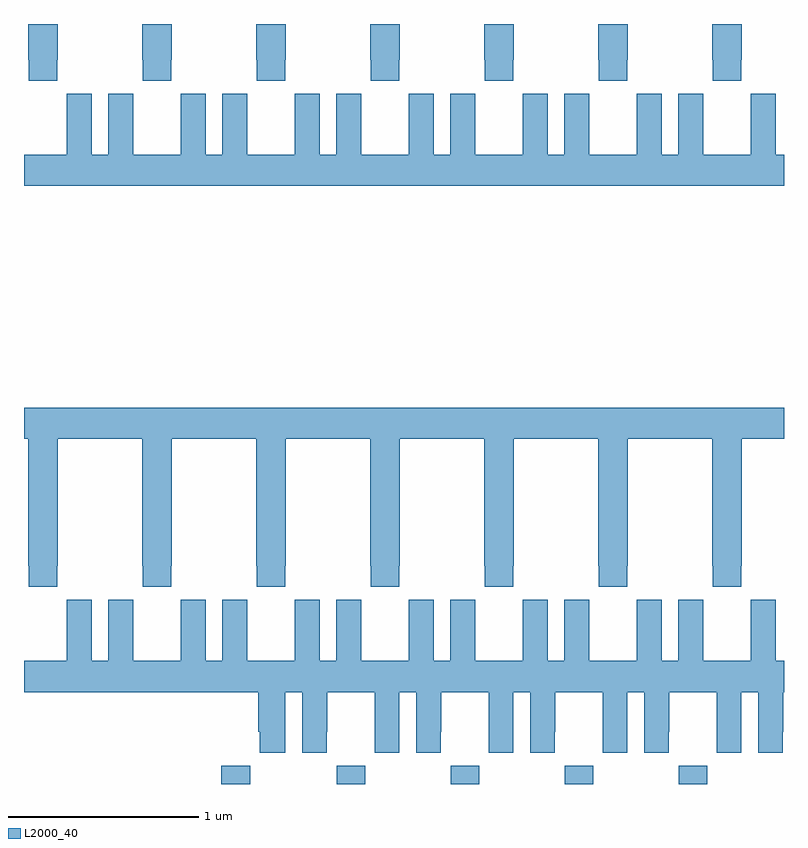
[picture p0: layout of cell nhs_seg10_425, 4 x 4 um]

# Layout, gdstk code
import gdstk
lib = gdstk.Library(unit=1e-6, precision=1e-09)
def R(c, l, rs):  # rectangles x0, y0, x1, y1
    for r in rs: c.add(gdstk.rectangle(r[:2], r[2:], *l))
def A(c, l, x, y, w, h, nx, ny, dx, dy):  # array of equal rectangles
    R(c, l, [(x+i*dx, y+j*dy, x+i*dx+w, y+j*dy+h) for i in range(nx) for j in range(ny)])
def P(c, l, *ps):  # polygons
    for p in ps: c.add(gdstk.Polygon(p, *l))
L2000_40 = (2000, 40)

nhs_seg10_425 = lib.new_cell('nhs_seg10_425')
A(nhs_seg10_425, L2000_40, 132.645, 1298.5, 0.15, 0.096, 4, 1, 0.6, 0)
R(nhs_seg10_425, L2000_40, [(132.038,1298.5,132.191,1298.596)])
P(nhs_seg10_425, L2000_40, [(131.175,1302.313),(131.178,1302.313),(131.178,1302.5),(131.023,1302.5),(131.023,1302.313),(131.025,1302.313),(131.025,1302.201),(131.175,1302.201)],
  [(131.775,1302.313),(131.778,1302.313),(131.778,1302.5),(131.623,1302.5),(131.623,1302.313),(131.625,1302.313),(131.625,1302.201),(131.775,1302.201)],
  [(132.375,1302.313),(132.378,1302.313),(132.378,1302.5),(132.223,1302.5),(132.223,1302.313),(132.225,1302.313),(132.225,1302.201),(132.375,1302.201)],
  [(132.975,1302.313),(132.978,1302.313),(132.978,1302.5),(132.823,1302.5),(132.823,1302.313),(132.825,1302.313),(132.825,1302.201),(132.975,1302.201)],
  [(133.575,1302.313),(133.578,1302.313),(133.578,1302.5),(133.423,1302.5),(133.423,1302.313),(133.425,1302.313),(133.425,1302.201),(133.575,1302.201)],
  [(134.175,1302.313),(134.178,1302.313),(134.178,1302.5),(134.023,1302.5),(134.023,1302.313),(134.025,1302.313),(134.025,1302.201),(134.175,1302.201)],
  [(134.775,1302.313),(134.778,1302.313),(134.778,1302.5),(134.623,1302.5),(134.623,1302.313),(134.625,1302.313),(134.625,1302.201),(134.775,1302.201)],
  [(135,1301.812),(134.956,1301.812),(134.956,1302.133),(134.826,1302.133),(134.826,1302.02),(134.825,1302.02),(134.825,1301.812),(134.575,1301.812),(134.575,1302.02),(134.574,1302.02),(134.574,1302.133),(134.444,1302.133),(134.444,1301.812),(134.356,1301.812),(134.356,1302.133),(134.226,1302.133),(134.226,1302.02),(134.225,1302.02),(134.225,1301.812),(133.975,1301.812),(133.975,1302.02),(133.974,1302.02),(133.974,1302.133),(133.844,1302.133),(133.844,1301.812),(133.756,1301.812),(133.756,1302.133),(133.626,1302.133),(133.626,1302.02),(133.625,1302.02),(133.625,1301.812),(133.375,1301.812),(133.375,1302.02),(133.374,1302.02),(133.374,1302.133),(133.244,1302.133),(133.244,1301.812),(133.156,1301.812),(133.156,1302.133),(133.026,1302.133),(133.026,1302.02),(133.025,1302.02),(133.025,1301.812),(132.775,1301.812),(132.775,1302.02),(132.774,1302.02),(132.774,1302.133),(132.644,1302.133),(132.644,1301.812),(132.556,1301.812),(132.556,1302.133),(132.426,1302.133),(132.426,1302.02),(132.425,1302.02),(132.425,1301.812),(132.175,1301.812),(132.175,1302.02),(132.174,1302.02),(132.174,1302.133),(132.044,1302.133),(132.044,1301.812),(131.956,1301.812),(131.956,1302.133),(131.826,1302.133),(131.826,1302.02),(131.825,1302.02),(131.825,1301.812),(131.575,1301.812),(131.575,1302.02),(131.574,1302.02),(131.574,1302.133),(131.444,1302.133),(131.444,1301.812),(131.356,1301.812),(131.356,1302.133),(131.226,1302.133),(131.226,1302.02),(131.225,1302.02),(131.225,1301.812),(131,1301.812),(131,1301.648),(135,1301.648)],
  [(131.175,1299.649),(131.178,1299.649),(131.178,1300.316),(131.623,1300.316),(131.623,1299.649),(131.625,1299.649),(131.625,1299.537),(131.775,1299.537),(131.775,1299.649),(131.778,1299.649),(131.778,1300.316),(132.223,1300.316),(132.223,1299.649),(132.225,1299.649),(132.225,1299.537),(132.375,1299.537),(132.375,1299.649),(132.378,1299.649),(132.378,1300.316),(132.823,1300.316),(132.823,1299.649),(132.825,1299.649),(132.825,1299.537),(132.975,1299.537),(132.975,1299.649),(132.978,1299.649),(132.978,1300.316),(133.423,1300.316),(133.423,1299.649),(133.425,1299.649),(133.425,1299.537),(133.575,1299.537),(133.575,1299.649),(133.578,1299.649),(133.578,1300.316),(134.023,1300.316),(134.023,1299.649),(134.025,1299.649),(134.025,1299.537),(134.175,1299.537),(134.175,1299.649),(134.178,1299.649),(134.178,1300.316),(134.623,1300.316),(134.623,1299.649),(134.625,1299.649),(134.625,1299.537),(134.775,1299.537),(134.775,1299.649),(134.778,1299.649),(134.778,1300.316),(135,1300.316),(135,1300.48),(131,1300.48),(131,1300.316),(131.023,1300.316),(131.023,1299.649),(131.025,1299.649),(131.025,1299.537),(131.175,1299.537)],
  [(133.975,1299.356),(133.974,1299.356),(133.974,1299.469),(133.844,1299.469),(133.844,1299.148),(133.756,1299.148),(133.756,1299.469),(133.626,1299.469),(133.626,1299.356),(133.625,1299.356),(133.625,1299.148),(133.375,1299.148),(133.375,1299.356),(133.374,1299.356),(133.374,1299.469),(133.244,1299.469),(133.244,1299.148),(133.156,1299.148),(133.156,1299.469),(133.026,1299.469),(133.026,1299.356),(133.025,1299.356),(133.025,1299.148),(132.775,1299.148),(132.775,1299.356),(132.774,1299.356),(132.774,1299.469),(132.644,1299.469),(132.644,1299.148),(132.556,1299.148),(132.556,1299.469),(132.426,1299.469),(132.426,1299.356),(132.425,1299.356),(132.425,1299.148),(132.175,1299.148),(132.175,1299.356),(132.174,1299.356),(132.174,1299.469),(132.044,1299.469),(132.044,1299.148),(131.956,1299.148),(131.956,1299.469),(131.826,1299.469),(131.826,1299.356),(131.825,1299.356),(131.825,1299.148),(131.575,1299.148),(131.575,1299.356),(131.574,1299.356),(131.574,1299.469),(131.444,1299.469),(131.444,1299.148),(131.356,1299.148),(131.356,1299.469),(131.226,1299.469),(131.226,1299.356),(131.225,1299.356),(131.225,1299.148),(131,1299.148),(131,1298.984),(132.233,1298.984),(132.233,1298.776),(132.242,1298.776),(132.242,1298.664),(132.376,1298.664),(132.376,1298.984),(132.464,1298.984),(132.464,1298.664),(132.594,1298.664),(132.594,1298.776),(132.595,1298.776),(132.595,1298.984),(132.845,1298.984),(132.845,1298.776),(132.846,1298.776),(132.846,1298.664),(132.976,1298.664),(132.976,1298.984),(133.064,1298.984),(133.064,1298.664),(133.194,1298.664),(133.194,1298.776),(133.195,1298.776),(133.195,1298.984),(133.445,1298.984),(133.445,1298.776),(133.446,1298.776),(133.446,1298.664),(133.576,1298.664),(133.576,1298.984),(133.664,1298.984),(133.664,1298.664),(133.794,1298.664),(133.794,1298.776),(133.795,1298.776),(133.795,1298.984),(134.045,1298.984),(134.045,1298.776),(134.046,1298.776),(134.046,1298.664),(134.176,1298.664),(134.176,1298.984),(134.264,1298.984),(134.264,1298.664),(134.394,1298.664),(134.394,1298.776),(134.395,1298.776),(134.395,1298.984),(134.645,1298.984),(134.645,1298.776),(134.646,1298.776),(134.646,1298.664),(134.776,1298.664),(134.776,1298.984),(134.864,1298.984),(134.864,1298.664),(134.994,1298.664),(134.994,1298.776),(134.995,1298.776),(134.995,1298.984),(135,1298.984),(135,1299.148),(134.956,1299.148),(134.956,1299.469),(134.826,1299.469),(134.826,1299.356),(134.825,1299.356),(134.825,1299.148),(134.575,1299.148),(134.575,1299.356),(134.574,1299.356),(134.574,1299.469),(134.444,1299.469),(134.444,1299.148),(134.356,1299.148),(134.356,1299.469),(134.226,1299.469),(134.226,1299.356),(134.225,1299.356),(134.225,1299.148),(133.975,1299.148)])

lib.write_gds('nhs_seg10_425.gds')
